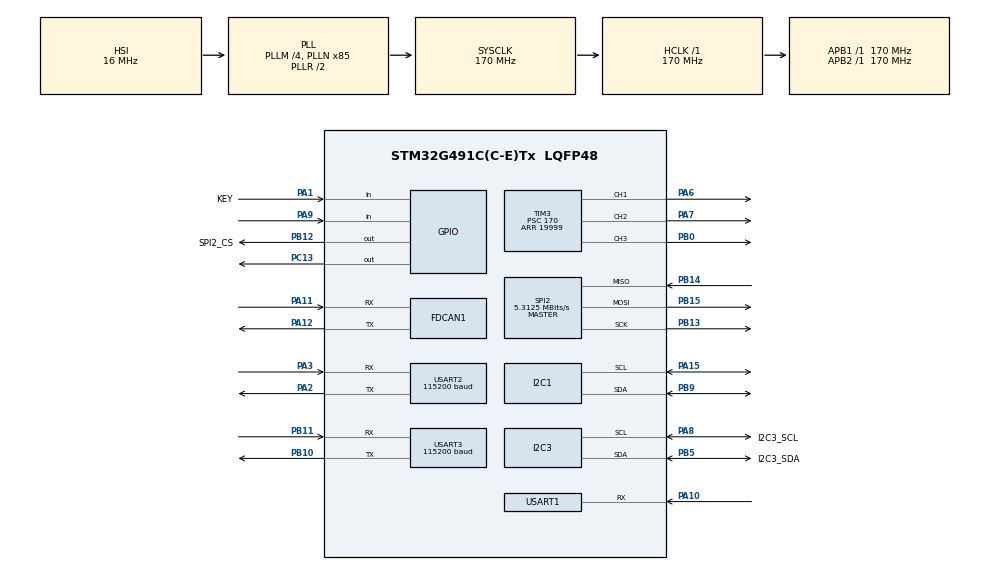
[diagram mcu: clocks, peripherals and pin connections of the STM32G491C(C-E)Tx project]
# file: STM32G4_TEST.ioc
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Dma.I2C1_RX.0.Direction=DMA_PERIPH_TO_MEMORY
Dma.I2C1_RX.0.EventEnable=DISABLE
Dma.I2C1_RX.0.Instance=DMA1_Channel1
Dma.I2C1_RX.0.MemDataAlignment=DMA_MDATAALIGN_BYTE
Dma.I2C1_RX.0.MemInc=DMA_MINC_ENABLE
Dma.I2C1_RX.0.Mode=DMA_NORMAL
Dma.I2C1_RX.0.PeriphDataAlignment=DMA_PDATAALIGN_BYTE
Dma.I2C1_RX.0.PeriphInc=DMA_PINC_DISABLE
Dma.I2C1_RX.0.Polarity=HAL_DMAMUX_REQ_GEN_RISING
Dma.I2C1_RX.0.Priority=DMA_PRIORITY_MEDIUM
Dma.I2C1_RX.0.RequestNumber=1
Dma.I2C1_RX.0.SignalID=NONE
Dma.I2C1_RX.0.SyncEnable=DISABLE
Dma.I2C1_RX.0.SyncPolarity=HAL_DMAMUX_SYNC_NO_EVENT
Dma.I2C1_RX.0.SyncRequestNumber=1
Dma.I2C1_RX.0.SyncSignalID=NONE
Dma.Request0=I2C1_RX
FDCAN1.AutoRetransmission=ENABLE
FDCAN1.CalculateBaudRateNominal=500000
FDCAN1.CalculateTimeBitNominal=2000
FDCAN1.CalculateTimeQuantumNominal=100.0
FDCAN1.FrameFormat=FDCAN_FRAME_CLASSIC
FDCAN1.NominalPrescaler=17
FDCAN1.NominalSyncJumpWidth=3
FDCAN1.NominalTimeSeg1=16
FDCAN1.NominalTimeSeg2=3
FDCAN1.TxFifoQueueMode=FDCAN_TX_FIFO_OPERATION
FREERTOS.Tasks01=defaultTask,24,128,StartDefaultTask,Default,NULL,Dynamic,NULL,NULL;NLFKION,38,512,NLF_TASK,Default,NULL,Dynamic,NULL,NULL;ColorFunion,38,256,Color_task,Default,NULL,Dynamic,NULL,NULL;BsRtFunion,38,256,BsRt_task,Default,NULL,Dynamic,NULL,NULL;OLED,40,256,OLED_TASK,Default,NULL,Dynamic,NULL,NULL;FCFUION,8,256,FC_TASK,Default,NULL,Dynamic,NULL,NULL;QRFUNION,8,256,QR_TASK,Default,NULL,Dynamic,NULL,NULL;IMU_TASK,32,128,IMU_FUCTION,Default,NULL,Dynamic,NULL,NULL
FREERTOS.configTOTAL_HEAP_SIZE=12288
I2C1.Timing=0x40B285C2
I2C3.Timing=0x40B285C2
Mcu.Family=STM32G4
Mcu.Name=STM32G491C(C-E)Tx
Mcu.Package=LQFP48
NVIC.DMA1_Channel1_IRQn=true\:5\:0\:false\:false\:true\:true\:false\:true\:true
NVIC.FDCAN1_IT0_IRQn=true\:5\:0\:false\:false\:true\:true\:true\:true\:true
NVIC.PriorityGroup=NVIC_PRIORITYGROUP_4
NVIC.TIM6_DAC_IRQn=true\:5\:0\:false\:false\:true\:false\:false\:true\:true
NVIC.TimeBase=TIM6_DAC_IRQn
NVIC.TimeBaseIP=TIM6
NVIC.USART1_IRQn=true\:5\:0\:false\:false\:true\:true\:true\:true\:true
NVIC.USART2_IRQn=true\:5\:0\:false\:false\:true\:true\:true\:true\:true
NVIC.USART3_IRQn=true\:5\:0\:false\:false\:true\:true\:true\:true\:true
PA1.GPIO_Label=KEY
PA1.Signal=GPIO_Input
PA10.GPIO_PuPd=GPIO_PULLUP
PA10.GPIO_Speed=GPIO_SPEED_FREQ_MEDIUM
PA10.Mode=Asynchronous
PA10.Signal=USART1_RX
PA11.GPIO_Speed=GPIO_SPEED_FREQ_MEDIUM
PA11.Mode=FDCAN_Activate
PA11.Signal=FDCAN1_RX
PA12.GPIO_Speed=GPIO_SPEED_FREQ_MEDIUM
PA12.Mode=FDCAN_Activate
PA12.Signal=FDCAN1_TX
PA13.Mode=Serial_Wire
PA13.Signal=SYS_JTMS-SWDIO
PA14.Mode=Serial_Wire
PA14.Signal=SYS_JTCK-SWCLK
PA15.Mode=I2C
PA15.Signal=I2C1_SCL
PA2.GPIO_Speed=GPIO_SPEED_FREQ_MEDIUM
PA2.Mode=Asynchronous
PA2.Signal=USART2_TX
PA3.GPIO_PuPd=GPIO_PULLUP
PA3.GPIO_Speed=GPIO_SPEED_FREQ_MEDIUM
PA3.Mode=Asynchronous
PA3.Signal=USART2_RX
PA6.GPIO_Speed=GPIO_SPEED_FREQ_MEDIUM
PA6.Signal=S_TIM3_CH1
PA7.GPIO_Speed=GPIO_SPEED_FREQ_MEDIUM
PA7.Signal=S_TIM3_CH2
PA8.GPIO_Label=I2C3_SCL
PA8.Mode=I2C
PA8.Signal=I2C3_SCL
PA9.Signal=GPIO_Input
PB0.GPIO_Speed=GPIO_SPEED_FREQ_MEDIUM
PB0.Signal=S_TIM3_CH3
PB10.GPIO_Speed=GPIO_SPEED_FREQ_MEDIUM
PB10.Mode=Asynchronous
PB10.Signal=USART3_TX
PB11.GPIO_PuPd=GPIO_PULLUP
PB11.GPIO_Speed=GPIO_SPEED_FREQ_MEDIUM
PB11.Mode=Asynchronous
PB11.Signal=USART3_RX
PB12.GPIO_Label=SPI2_CS
PB12.GPIO_Speed=GPIO_SPEED_FREQ_VERY_HIGH
PB12.PinState=GPIO_PIN_SET
PB12.Signal=GPIO_Output
PB13.GPIO_Speed=GPIO_SPEED_FREQ_VERY_HIGH
PB13.Mode=Full_Duplex_Master
PB13.Signal=SPI2_SCK
PB14.GPIO_Speed=GPIO_SPEED_FREQ_VERY_HIGH
PB14.Mode=Full_Duplex_Master
PB14.Signal=SPI2_MISO
PB15.GPIO_Speed=GPIO_SPEED_FREQ_VERY_HIGH
PB15.Mode=Full_Duplex_Master
PB15.Signal=SPI2_MOSI
PB5.GPIO_Label=I2C3_SDA
PB5.Mode=I2C
PB5.Signal=I2C3_SDA
PB9.Mode=I2C
PB9.Signal=I2C1_SDA
PC13.PinState=GPIO_PIN_SET
PC13.Signal=GPIO_Output
PC14-OSC32_IN.Mode=LSE-External-Oscillator
PC14-OSC32_IN.Signal=RCC_OSC32_IN
PC15-OSC32_OUT.Mode=LSE-External-Oscillator
PC15-OSC32_OUT.Signal=RCC_OSC32_OUT
PF0-OSC_IN.Mode=HSE-External-Oscillator
PF0-OSC_IN.Signal=RCC_OSC_IN
PF1-OSC_OUT.Mode=HSE-External-Oscillator
PF1-OSC_OUT.Signal=RCC_OSC_OUT
ProjectManager.HeapSize=0x200
ProjectManager.StackSize=0x400
ProjectManager.TargetToolchain=CMake
RCC.ADC12Freq_Value=170000000
RCC.ADC345Freq_Value=170000000
RCC.AHBFreq_Value=170000000
RCC.APB1Freq_Value=170000000
RCC.APB1TimFreq_Value=170000000
RCC.APB2Freq_Value=170000000
RCC.APB2TimFreq_Value=170000000
RCC.CortexFreq_Value=170000000
RCC.EXTERNAL_CLOCK_VALUE=12288000
RCC.HCLKFreq_Value=170000000
RCC.HSE_VALUE=8000000
RCC.HSI48_VALUE=48000000
RCC.HSI_VALUE=16000000
RCC.PLLM=RCC_PLLM_DIV4
RCC.PLLN=85
RCC.SYSCLKFreq_VALUE=170000000
RCC.SYSCLKSource=RCC_SYSCLKSOURCE_PLLCLK
RCC.VCOOutputFreq_Value=340000000
SH.S_TIM3_CH1.0=TIM3_CH1,PWM Generation1 CH1
SH.S_TIM3_CH2.0=TIM3_CH2,PWM Generation2 CH2
SH.S_TIM3_CH3.0=TIM3_CH3,PWM Generation3 CH3
SPI2.BaudRatePrescaler=SPI_BAUDRATEPRESCALER_32
SPI2.CalculateBaudRate=5.3125 MBits/s
SPI2.DataSize=SPI_DATASIZE_8BIT
SPI2.Direction=SPI_DIRECTION_2LINES
SPI2.Mode=SPI_MODE_MASTER
SPI2.VirtualType=VM_MASTER
STMicroelectronics.X-CUBE-ALGOBUILD.1.4.0.LibraryCcDSPOoLibraryJjDSPOoLibrary=true
TIM3.Channel-PWM\ Generation1\ CH1=TIM_CHANNEL_1
TIM3.Channel-PWM\ Generation2\ CH2=TIM_CHANNEL_2
TIM3.Channel-PWM\ Generation3\ CH3=TIM_CHANNEL_3
TIM3.PeriodNoDither=19999
TIM3.Prescaler=170
USART1.BaudRate=115200
USART1.VirtualMode-Asynchronous=VM_ASYNC
USART2.BaudRate=115200
USART2.VirtualMode-Asynchronous=VM_ASYNC
USART3.BaudRate=115200
USART3.VirtualMode-Asynchronous=VM_ASYNC
VP_FREERTOS_VS_CMSIS_V2.Mode=CMSIS_V2
VP_STMicroelectronics.X-CUBE-ALGOBUILD_VS_DSPOoLibraryJjLibrary_1.4.0_1.4.0.Mode=DSPOoLibraryJjLibrary
VP_SYS_VS_DBSignals.Mode=DisableDeadBatterySignals
VP_SYS_VS_tim6.Mode=TIM6
VP_TIM2_VS_ClockSourceINT.Mode=Internal
VP_TIM3_VS_ClockSourceINT.Mode=Internal
board=custom

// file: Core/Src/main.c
/* USER CODE BEGIN Header */
/**
  ******************************************************************************
  * @file           : main.c
  * @brief          : Main program body
  ******************************************************************************
  * @attention
  *
  * Copyright (c) 2026 STMicroelectronics.
  * All rights reserved.
  *
  * This software is licensed under terms that can be found in the LICENSE file
  * in the root directory of this software component.
  * If no LICENSE file comes with this software, it is provided AS-IS.
  *
  ******************************************************************************
  */
/* USER CODE END Header */
#include "main.h"
#include "cmsis_os.h"
#include "dma.h"
#include "fdcan.h"
#include "i2c.h"
#include "spi.h"
#include "tim.h"
#include "usart.h"
#include "gpio.h"

/* USER CODE BEGIN Includes */
#include "Common_used.h"
/* USER CODE END Includes */

/* USER CODE BEGIN PV */
void Hal_starte()
{

		FDCAN1_UserInit();

		__HAL_UART_CLEAR_FLAG(&huart1, UART_CLEAR_OREF | UART_CLEAR_FEF | UART_CLEAR_NEF);
        __HAL_UART_CLEAR_FLAG(&huart3, UART_CLEAR_OREF | UART_CLEAR_FEF | UART_CLEAR_NEF);

		QRcode_Start();
		HAL_UART_Receive_IT(&huart3, &rx3, 1);
		//HAL_UART_Receive_IT(&huart1, &rx1, 1);
		/* DMA ѭ������ + IDLE ֡ͬ�� */
		K230_Init();

    while (imu660ra_init()==0) {

       HAL_Delay(500);
        }

        siyuan_ahrs_init();    /* 内部用重力初始化 roll/pitch, yaw=0 */
        siyuan_gyro_calibrate();
		HAL_TIM_PWM_Start(&htim3, TIM_CHANNEL_1);//?????????
		HAL_TIM_PWM_Start(&htim3, TIM_CHANNEL_2);
		HAL_TIM_PWM_Start(&htim3, TIM_CHANNEL_3);

		HAL_TIM_IC_Start_IT(&htim2, TIM_CHANNEL_1);//???????

}
/* USER CODE END PV */

void SystemClock_Config(void);
void MX_FREERTOS_Init(void);
/* USER CODE BEGIN PFP */

#if defined(__ARMCC_VERSION) && (__ARMCC_VERSION >= 6000000)
__asm(".global __use_no_semihosting\n");
#elif defined(__CC_ARM)
#pragma import(__use_no_semihosting)

struct __FILE
{
    int handle;
};
#endif

FILE __stdout;
FILE __stdin;

int fputc(int ch, FILE *f)
{
    HAL_UART_Transmit(&huart1, (uint8_t *)&ch, 1, 0xFFFF);
    return ch;
}

int __io_putchar(int ch)
{
    HAL_UART_Transmit(&huart1, (uint8_t *)&ch, 1, 0xFFFF);
    return ch;
}

void _ttywrch(int ch)
{
    HAL_UART_Transmit(&huart1, (uint8_t *)&ch, 1, 0xFFFF);
}

void _sys_exit(int x)
{
    x = x;
}

/* USER CODE END PFP */

int main(void)
{

  /* USER CODE BEGIN 1 */
    uint8_t Data[15];
  /* USER CODE END 1 */

  /* MCU Configuration--------------------------------------------------------*/

  /* Reset of all peripherals, Initializes the Flash interface and the Systick. */
  HAL_Init();

  /* Configure the system clock */
  SystemClock_Config();

  /* Initialize all configured peripherals */
  MX_GPIO_Init();
  MX_DMA_Init();
  MX_FDCAN1_Init();
  MX_I2C3_Init();
  MX_SPI2_Init();
  MX_TIM2_Init();
  MX_TIM3_Init();
  MX_USART1_UART_Init();
  MX_USART2_UART_Init();
  MX_USART3_UART_Init();
  MX_I2C1_Init();
  /* USER CODE BEGIN 2 */
  UART2_StartDMAReceive();
 //    Color_Init();
//	IMU660RC_Init();
//	IMU660RC_AttitudeInit();
    HAL_Delay(100);
	  Hal_starte();

    IMU660RA_AttitudeInit();
    uint8_t len=sprintf((char *)Data,"init ok");
    HAL_UART_Transmit(&huart1, (uint8_t *)Data,len, 100);
    HAL_Delay(10);
 //  Emm_V5_Vel_Control(1,1,10,10,0);
	// Emm_V5_Vel_Control(2,1,10,10,0);
   // osDelay(10);
 //  Emm_V5_Vel_Control(3,1,10,10,0);
 //  Emm_V5_Vel_Control(4,1,10,10,0);
 // Emm_V5_Synchronous_motion(0);
	// //OLED_ShowNum(1,1,11,3,OLED_6X8);
	//OLED_Update();
  /* USER CODE END 2 */

  /* Init scheduler */
  osKernelInitialize();

  /* Call init function for freertos objects (in cmsis_os2.c) */
  MX_FREERTOS_Init();

  /* Start scheduler */
  osKernelStart();

  /* We should never get here as control is now taken by the scheduler */

  /* Infinite loop */
  while (1)
  {

  }
}

void SystemClock_Config(void)
{
  RCC_OscInitTypeDef RCC_OscInitStruct = {0};
  RCC_ClkInitTypeDef RCC_ClkInitStruct = {0};

  /** Configure the main internal regulator output voltage
  */
  HAL_PWREx_ControlVoltageScaling(PWR_REGULATOR_VOLTAGE_SCALE1_BOOST);

  /** Initializes the RCC Oscillators according to the specified parameters
  * in the RCC_OscInitTypeDef structure.
  */
  RCC_OscInitStruct.OscillatorType = RCC_OSCILLATORTYPE_HSI;
  RCC_OscInitStruct.HSIState = RCC_HSI_ON;
  RCC_OscInitStruct.HSICalibrationValue = RCC_HSICALIBRATION_DEFAULT;
  RCC_OscInitStruct.PLL.PLLState = RCC_PLL_ON;
  RCC_OscInitStruct.PLL.PLLSource = RCC_PLLSOURCE_HSI;
  RCC_OscInitStruct.PLL.PLLM = RCC_PLLM_DIV4;
  RCC_OscInitStruct.PLL.PLLN = 85;
  RCC_OscInitStruct.PLL.PLLP = RCC_PLLP_DIV2;
  RCC_OscInitStruct.PLL.PLLQ = RCC_PLLQ_DIV2;
  RCC_OscInitStruct.PLL.PLLR = RCC_PLLR_DIV2;
  if (HAL_RCC_OscConfig(&RCC_OscInitStruct) != HAL_OK)
  {
    Error_Handler();
  }

  /** Initializes the CPU, AHB and APB buses clocks
  */
  RCC_ClkInitStruct.ClockType = RCC_CLOCKTYPE_HCLK|RCC_CLOCKTYPE_SYSCLK
                              |RCC_CLOCKTYPE_PCLK1|RCC_CLOCKTYPE_PCLK2;
  RCC_ClkInitStruct.SYSCLKSource = RCC_SYSCLKSOURCE_PLLCLK;
  RCC_ClkInitStruct.AHBCLKDivider = RCC_SYSCLK_DIV1;
  RCC_ClkInitStruct.APB1CLKDivider = RCC_HCLK_DIV1;
  RCC_ClkInitStruct.APB2CLKDivider = RCC_HCLK_DIV1;

  if (HAL_RCC_ClockConfig(&RCC_ClkInitStruct, FLASH_LATENCY_4) != HAL_OK)
  {
    Error_Handler();
  }
}

void HAL_TIM_PeriodElapsedCallback(TIM_HandleTypeDef *htim)
{
  if (htim->Instance == TIM6)
  {
    HAL_IncTick();
  }
}

void Error_Handler(void)
{
  __disable_irq();
  while (1)
  {
  }
}

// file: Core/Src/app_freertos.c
/* USER CODE BEGIN Header */
/**
  ******************************************************************************
  * File Name          : app_freertos.c
  * Description        : Code for freertos applications
  ******************************************************************************
  */
/* USER CODE END Header */

#include "FreeRTOS.h"
#include "task.h"
#include "main.h"
#include "cmsis_os.h"

/* USER CODE BEGIN Includes */
#include "Common_used.h"
#include "stdlib.h"
/* USER CODE END Includes */

/* USER CODE BEGIN PD */
#ifndef LEGACY_USART1_HOST_ENABLE
#define LEGACY_USART1_HOST_ENABLE 0
#endif
/* 灰度循迹开关: 1=左循迹用灰度传感器(PA4 CLK / PA5 DAT), 0=用 K230 摄像头 */
#ifndef GRAY_TRACE_ENABLE
#define GRAY_TRACE_ENABLE 0
#endif
/* USER CODE END PD */

/* USER CODE BEGIN PM */
SemaphoreHandle_t Sem_Act_QR;
SemaphoreHandle_t Sem_Act_FINDCIRCLE;
SemaphoreHandle_t Sem_Act_Steer;
SemaphoreHandle_t Sem_Act_FollowLineL;
SemaphoreHandle_t Sem_Act_FollowLineR;
SemaphoreHandle_t Sem_Act_Navigat;

volatile TaskCommand_t   g_last_cmd;
volatile uint8_t         g_color_collect_done = 0;  /* 0=未完成, 1=5个槽已收集完 */
volatile uint8_t         g_trophy_done = 0;         /* 0=未完成, 1=3个奖杯槽已收集完 */

/* --- 颜色读取握手: BsRt_task 检测到物块到位 → 置 g_color_req 请求读色,
 *    Color_task 读到有效色写槽位 → 清 g_color_req 应答 --- */
volatile uint8_t g_color_req      = 0;   /* 1=有读色请求待处理 */
volatile uint8_t g_color_req_slot = 0;   /* 待读槽索引 (0~3), 配合 g_color_req */
static uint8_t   s_seen[COLOR_COUNT];   /* 已读颜色去重标记 (收集阶段共享) */

/* --- 角度控制任务 (FC_TASK) --- */
volatile uint8_t g_angle_ctrl_enable = 0;    /* 1=使能角度控制, 0=停止 */
volatile float
g_angle_target_yaw   = 90.0f; /* 目标角度 (deg), 固定值可改 */
/* USER CODE END PM */

/* USER CODE BEGIN Variables */
GrayTrace_t g_gray_trace;   /* 灰度循迹控制器 (PA4 CLK / PA5 DAT) */

/* USER CODE END Variables */
/* Definitions for defaultTask */
osThreadId_t defaultTaskHandle;
const osThreadAttr_t defaultTask_attributes = {
  .name = "defaultTask",
  .priority = (osPriority_t) osPriorityHigh,
  .stack_size = 256 * 4
};
/* Definitions for NLFKION */
osThreadId_t NLFKIONHandle;
const osThreadAttr_t NLFKION_attributes = {
  .name = "NLFKION",
  .priority = (osPriority_t) osPriorityAboveNormal7,
  .stack_size = 512 * 6
};
/* Definitions for ColorFunion */
osThreadId_t ColorFunionHandle;
const osThreadAttr_t ColorFunion_attributes = {
  .name = "ColorFunion",
  .priority = (osPriority_t) osPriorityAboveNormal6,
  .stack_size = 512 * 4
};
/* Definitions for BsRtFunion */
osThreadId_t BsRtFunionHandle;
const osThreadAttr_t BsRtFunion_attributes = {
  .name = "BsRtFunion",
  .priority = (osPriority_t) osPriorityAboveNormal7,
  .stack_size = 256 * 4
};
/* Definitions for OLED */
osThreadId_t OLEDHandle;
const osThreadAttr_t OLED_attributes = {
  .name = "OLED",
  .priority = (osPriority_t) osPriorityHigh,
  .stack_size = 256 * 4
};
/* Definitions for FCFUION */
osThreadId_t FCFUIONHandle;
const osThreadAttr_t FCFUION_attributes = {
  .name = "FCFUION",
  .priority = (osPriority_t) osPriorityAboveNormal6,
  .stack_size = 256 * 4
};
/* Definitions for QRFUNION */
osThreadId_t QRFUNIONHandle;
const osThreadAttr_t QRFUNION_attributes = {
  .name = "QRFUNION",
  .priority = (osPriority_t) osPriorityAboveNormal6,
  .stack_size = 256 * 4
};
/* Definitions for IMU_TASK */
osThreadId_t IMU_TASKHandle;
const osThreadAttr_t IMU_TASK_attributes = {
  .name = "IMU_TASK",
  .priority = (osPriority_t) osPriorityHigh,
  .stack_size = 256 * 4
};

void StartDefaultTask(void *argument);
void NLF_TASK(void *argument);
void Color_task(void *argument);
void BsRt_task(void *argument);
void OLED_TASK(void *argument);
void FC_TASK(void *argument);
void QR_TASK(void *argument);
void IMU_FUCTION(void *argument);

void MX_FREERTOS_Init(void); /* (MISRA C 2004 rule 8.1) */

void MX_FREERTOS_Init(void) {

  /* Create the thread(s) */
  /* creation of defaultTask */
  defaultTaskHandle = osThreadNew(StartDefaultTask, NULL, &defaultTask_attributes);

  /* creation of NLFKION */
  NLFKIONHandle = osThreadNew(NLF_TASK, NULL, &NLFKION_attributes);

  /* creation of ColorFunion */
  ColorFunionHandle = osThreadNew(Color_task, NULL, &ColorFunion_attributes);

  /* creation of BsRtFunion */
  BsRtFunionHandle = osThreadNew(BsRt_task, NULL, &BsRtFunion_attributes);

  /* creation of OLED */
  OLEDHandle = osThreadNew(OLED_TASK, NULL, &OLED_attributes);

  /* creation of FCFUION */
  FCFUIONHandle = osThreadNew(FC_TASK, NULL, &FCFUION_attributes);

  /* creation of QRFUNION */
  QRFUNIONHandle = osThreadNew(QR_TASK, NULL, &QRFUNION_attributes);

  /* creation of IMU_TASK */
  IMU_TASKHandle = osThreadNew(IMU_FUCTION, NULL, &IMU_TASK_attributes);

  Color_CalibLoad();

}

void StartDefaultTask(void *argument)
{
  /* USER CODE BEGIN StartDefaultTask */
	TaskCommand_t cmd;
	task_init();
  for(;;)
  {
   cmd= task_recive();
		g_last_cmd = cmd;
		osDelay(30);
  }
  /* USER CODE END StartDefaultTask */
}

void NLF_TASK(void *argument)
{
  /* USER CODE BEGIN NLF_TASK */
	/*
	 *导航循线任务
	 */
	SystemMode_t Navafter_mode[6]={Event_QRCode,Event_LinFolL,Event_FindCircle,Event_QRCode,Event_LinFolR,Event_PlaceDown};
	  // SystemMode_t Navafter_mode[6]={Event_QRCode,Event_LinFolR,Event_PlaceDown};
	// uint8_t NavafterNum[6]={1,1,3};
	 uint8_t NavafterNum[6]={1,1,5,1,1,3};
	//SystemMode_t Navafter_mode[4]={Event_PlaceDown,Event_LinFolL,Event_QRCode,Event_FindCircle};
	// uint8_t NavafterNum[4]={2,1,1,5};
	// SystemMode_t Navafter_mode[1]={Event_PlaceDown};
	// uint8_t NavafterNum[1]={2};
	uint8_t i=0;
	bool flag_finish=false;
	uint8_t P_Nava=0;
	uint8_t rank[3]={second_place,champion,third_place};

	K230_RequestMode(K230_MODE_LINEL);
	K230_ApplyMode();
	task_send(Event_Navigation);
	// BlockBasic_LiftTo(UP,44);
	// Nav_MoveForward(0.5);
	// osDelay(2000);
	// Nav_MoveForward(-0.5);
	BlockBasic_TurntableTo(1);
	// Emm_V5_Vel_Control(1, 0, 100, 250, 0);
	// Emm_V5_Vel_Control(2, 0, 100, 250, 0);
	// Emm_V5_Vel_Control(3, 0, 100, 250, 0);
	// Emm_V5_Vel_Control(4, 0, 100, 250, 0);
	osDelay(100);
  /* Infinite loop */
  for(;;)
  {
	  if (g_last_cmd.Mode==Event_Navigation)
	  {
	  	Nav_FeDuanPoint();
	  	printf("[TASK] Navigation done, P_Nava=%d\r\n", P_Nava);
	  	//Nav_MoveForward(0.5);
	  	//Nav_MoveLeft(-0.5);
	  	if (P_Nava<6)
	  	{
	  		task_send(Navafter_mode[P_Nava]);
	  		NavafterNum[P_Nava]--;
	  		if (NavafterNum[P_Nava]==0) {
	  			P_Nava++;
	  		}
	  	}
	  	else
	  	{
	  		task_send(Event_GoHome);
	  		Mecanum_StopAll();  /* 全部任务跑完, 停车 */
	  	}
	  }
else if (g_last_cmd.Mode==Event_LinFolL)
{
	g_angle_ctrl_enable = 0;   /* 循迹不用角度闭环, 关闭 */
#if GRAY_TRACE_ENABLE
	GrayTrace_Update(&g_gray_trace);   /* 灰度循迹 (PA4 CLK / PA5 DAT) */
	/* 串口打印 digital (每 100ms), 便于调灰度读取/极性/方向 */
	{
	// 	static uint32_t s_gray_print = 0U;
	// 	uint32_t now = HAL_GetTick();
	// 	if (now - s_gray_print >= 100U) {
	// 		uint8_t d = Grayscale_Get_Digital(&g_gray_trace.sensor);
	// 		s_gray_print = now;
	// 		printf("GRAY d=0x%02X [%c%c%c%c%c%c%c%c]\r\n",
	// 		       d,
	// 		       (d & 0x80) ? '0' : '_', (d & 0x40) ? '0' : '_',
	// 		       (d & 0x20) ? '0' : '_', (d & 0x10) ? '0' : '_',
	// 		       (d & 0x08) ? '0' : '_', (d & 0x04) ? '0' : '_',
	// 		       (d & 0x02) ? '0' : '_', (d & 0x01) ? '0' : '_');
	// 	}
	}
#else
	Trace_SetSide(0);          /* 左循迹: 角度环用 ANGLE_KP/KI/KD */
	K230_RequestMode(K230_MODE_LINEL);
	K230_ApplyMode();
  		Trace_LineFollow(Event_LinFolL);
#endif
  		if (g_color_collect_done==1)
  		{
  			task_send(Event_Navigation);
  			Mecanum_StopAll();
  			{
  			    World_Dir_t p = World_position_get();
  			    printf("[POS] LinFolL  x=%.3f y=%.3f yaw=%.2f\r\n",
  			           (double)p.x, (double)p.y, (double)(p.yaw * RAD_TO_DEG));
  			}
  			Nav_CalibrateAfterTrace(false);   /* 物料循迹 → 校准a点 */
  			K230_RequestMode(K230_MODE_CIRCLE);
  			K230_ApplyMode();
  			g_color_collect_done=0;
  		}
	osDelay(10);
  	}
  	else if (g_last_cmd.Mode==Event_LinFolR)
  	{
  		g_angle_ctrl_enable = 0;   /* 循迹不用角度闭环, 关闭 */
  		Trace_SetSide(1);          /* 右循迹: 角度环用 ANGLE_KP_R/KI_R/KD_R */
  		K230_RequestMode(K230_MODE_LINER);
  		K230_ApplyMode();
  		Trace_LineFollow(K230_MODE_LINER);
        if (g_trophy_done==1)
        {
	        task_send(Event_Navigation);
        	Mecanum_StopAll();
        	{
        	    World_Dir_t p = World_position_get();
        	    printf("[POS] LinFolR  x=%.3f y=%.3f yaw=%.2f\r\n",
        	           (double)p.x, (double)p.y, (double)(p.yaw * RAD_TO_DEG));
        	}
        	Nav_CalibrateAfterTrace(true);    /* 奖杯循迹 → 校准亚军点 */
        	K230_RequestMode(K230_MODE_CIRCLE);
        	K230_ApplyMode();
        	g_color_collect_done=0;
        }
			osDelay(10);
  	}
	else if (g_last_cmd.Mode==Event_FindCircle)
			{
		K230_RequestMode(K230_MODE_CIRCLE);
		K230_ApplyMode();
				g_circle_speed = 1.0f;  /* 左侧快 */

		if (g_circle_dir!='O')
		{
			Circle_Follow();
		}
			if (g_circle_dir=='O')
			{
				TT_RotateByQR();
				Place('O', g_circle_avg_x, g_circle_avg_y, 0);
				g_circle_dir=' ';
				printf("[TASK] FindCircle placed");
				flag_finish = false;
				if (TT_IsDone()) {
					printf("[TASK] LIFT servo");
					// Servo_SetAngle(125);
				}
				World_Reset();                    /* 放置完物块: 清零里程计, 奖杯段从0重新记 */
				task_send(Event_Navigation);
			}
			}
else if (g_last_cmd.Mode==Event_PlaceDown)
	  	{
	K230_RequestMode(K230_MODE_CIRCLE);
	K230_ApplyMode();
	g_circle_speed=1.0f;
	  		switch (rank[i])
  			{
  			case champion:
  				{
  					//加入奖杯转盘放置逻辑
  					if (flag_finish==false)
  					{
  						BlockBasic_TurntableTo(Slop_dirjang(champion));
  						// osDelay(500);
  						flag_finish=true;
  					}
  					if (g_circle_dir!='O')
  					{
  						Circle_Follow();
  					}
  					if (g_circle_dir=='O')
  					{
						Place('O', g_circle_avg_x, g_circle_avg_y, 37);
  						printf("[TASK] PlaceDown champion done\r\n");
  						i++;
  						flag_finish=false;
  						g_circle_dir=' ';
  						task_send(Event_Navigation);
  						break;
  					}
  				}
	  			break;
  			case  second_place:
  				{
  					//丝干在走进亚军时要先升起，在寻线完进行了升起
  					//加入奖杯转盘放置逻辑
  					if (flag_finish==false)
  					{
  						BlockBasic_TurntableTo(Slop_dirjang(second_place));
  						// osDelay(500);
  						flag_finish=true;
  					}
  					if (g_circle_dir!='O')
  					{
  						Circle_Follow();
  					}
  					if (g_circle_dir=='O')
  					{
						Place('O', g_circle_avg_x, g_circle_avg_y, 28);
  						printf("[TASK] PlaceDown second done\r\n");
  						i++;
  						flag_finish=false;
  						BlockBasic_LiftTo(UP,48);
  						task_send(Event_Navigation);
  						g_circle_dir=' ';
  						osDelay(800);
  						break;
  					}
  					//在走到冠军前要先升起来
  				}
	  			break;
  			case third_place:
  				{
  					if (flag_finish==false)
  					{
  						BlockBasic_LiftTo(DOWN,14);
  						BlockBasic_TurntableTo(Slop_dirjang(third_place));
  						//加入奖杯转盘放置逻辑（已加）
  						flag_finish=true;
  					}
  					if (g_circle_dir!='O')
  					{
  						Circle_Follow();
  					}
  					if (g_circle_dir=='O')
  					{
  						printf("[TASK] PlaceDown third done\r\n");
  						Place('O', g_circle_avg_x, g_circle_avg_y, 17);
  						i++;
  						flag_finish=false;
  						g_circle_dir=' ';
  						task_send(Event_Navigation);
  						break;
  					}
  				}break;
  			}

  		}
  	osDelay(10);
  		// Circle_Follow();
  		// if (g_circle_dir=='O')
  		// {
  		// 	Place('O');
  		// 	flag_finish=false;
  		// }
  		// task_send(Event_Navigation);
  	}

  	osDelay(10);
}
  /* USER CODE END NLF_TASK */

void Color_task(void *argument)
{
  /* USER CODE BEGIN Color_task */
	Color_SetLedLevel(5);
	Color_Init();

	IR_Init();

	/* 简单校准开关: 1=执行一次校准存 Flash, 0=实时打印 RGB+颜色 */
#define COLOR_SIMPLE_CALIB 0
#if COLOR_SIMPLE_CALIB
	{
		static const Color_TypeDef seq[5] = {COLOR_RED, COLOR_GREEN, COLOR_BLUE, COLOR_WHITE, COLOR_BLACK};
		static const char *name[5] = {"RED", "GREEN", "BLUE", "WHITE", "BLACK"};

		printf("[CALIB] Remove block, sample ambient in 3s\r\n");
		osDelay(1000);
		Color_CalibAmbient();
		printf("[CALIB] Ambient saved\r\n");

		for (int i = 0; i < 5; i++) {
			printf("[CALIB] >>> Put %s in front, sample in 3s\r\n", name[i]);
			osDelay(1000);
			Color_DataTypeDef d;
			if (Color_ReadData(&d) == HAL_OK) {
				Color_Calibrate(seq[i]);
				printf("[CALIB] %s: R=%3d G=%3d B=%3d saved\r\n",
				       name[i], d.red, d.green, d.blue);
			} else {
				printf("[CALIB] %s: no data!\r\n", name[i]);
			}
		}
		Color_CalibSave();
		printf("[CALIB] Saved to Flash\r\n");
		for (;;) { osDelay(1000); }
	}
#else
	{
		// uint8_t raw_dumped = 0;
		// for (;;) {
		// 	Color_DataTypeDef d;
		// 	if (Color_ReadData(&d) == HAL_OK) {
		// 		printf("R=%3d G=%3d B=%3d -> %s (cb=%lu, rxState=%d, IR=%d)\r\n",
		// 			   d.red, d.green, d.blue, Color_ToString(Color_Judge(&d)),
		// 			   (unsigned long)dbg_rx_cb, (int)huart2.RxState,
		// 			   IR_ObjectPresent());
		// 	} else {
		// 		printf("R= ? G= ? B= ? (no data, cb=%lu, rxState=%d, IR=%d)\r\n",
		// 			   (unsigned long)dbg_rx_cb, (int)huart2.RxState,
		// 			   IR_ObjectPresent());
		// 	}
		// 	if (!raw_dumped && dbg_rx_cb > 0) {
		// 		raw_dumped = 1;
		// 		printf("raw: ");
		// 		for (uint8_t i = 0; i < DMA_RX_BUF_SIZE; i++) {
		// 			printf("%02X ", dma_rx_buf[i]);
		// 		}
		// 		printf("\r\n");
		// 	}
		// 	// /* 调试: 打印5个槽的颜色, 验证槽位映射是否正确 */
		// 	printf("[COLLECT] slot1=%s slot2=%s slot3=%s slot4=%s slot5=%s\r\n",
		// 		   Color_ToString(ColorAtSlot(0)),
		// 		   Color_ToString(ColorAtSlot(1)),
		// 		   Color_ToString(ColorAtSlot(2)),
		// 		   Color_ToString(ColorAtSlot(3)),
		// 		   Color_ToString(ColorAtSlot(4)));
		// 	osDelay(1000);
		// }
		for (;;) {
			if (g_color_req) {
				uint8_t slot = g_color_req_slot;   /* 先取槽, 防握手期被改 */
				Color_TypeDef c = COLOR_UNKNOWN;

				/* 读取槽slot颜色(转盘静止): 带重试上限(约5s), 读不出不阻塞 */
				for (uint16_t tries = 0; tries < 50; tries++) {
					c = Collect_ReadColor();
					if (c != COLOR_UNKNOWN && c < COLOR_COUNT && !s_seen[c])
						break;
					osDelay(10);
				}
				if (c != COLOR_UNKNOWN && c < COLOR_COUNT && !s_seen[c]) {
					s_seen[c] = 1;
					TT_SetColor(slot, c);      /* 槽索引 0~3 直接写 */
				}
				g_color_req = 0;               /* 读色完成应答 */
			}
			osDelay(5);
		}

	}
#endif

  /* USER CODE END Color_task */
}

void BsRt_task(void *argument)
{
	/* USER CODE BEGIN BsRt_task */
	/*
	 *舵机转盘任务
	 */
	uint8_t K = 0;//0为先走物块任务，1为先走奖杯任务
	Servo_SetAngle(41);
	BlockBasic_TurntableTo(1);
	IR_Init();
	GrayTrace_Init(&g_gray_trace);   /* 灰度循迹控制器初始化 (PA4 CLK / PA5 DAT) */
	// BlockBasic_TurntableTo(1);
	// BlockBasic_LiftTo(UP,20);
	// HAL_Delay(1000);
	// BlockBasic_LiftTo(UP,40);
	for(;;)
	{
		osDelay(10);

		if (g_last_cmd.Mode==Event_LinFolL||g_last_cmd.Mode==Event_LinFolR)
		{

#if USE_OPENMV_COLOR == 0  /* ---- GY-33 ---- */
			/* 收集: 红外对射检测物体进入 → 读颜色 → 旋转转盘 */
			if (K==0) {
				g_color_collect_done = 0;
				for (uint8_t i = 0; i < COLOR_COUNT; i++) s_seen[i] = 0;   /* 清已读颜色标记 */
				Color_TypeDef c;
				uint8_t slot;

				g_color_req = 0;				/* 清残余请求 */
				Collect_WaitEnter();			/* 物块1完全进入槽1 (IR 脉冲0→1) */
				BlockBasic_TurntableTo(2);		/* 槽1 → 传感器下 (已完全进入, 无需落稳延时) */

				for (slot = 1; slot <= 4; slot++) {
					while (!IR_ObjectEntered()) osDelay(5);   /* 等物块完全进入 (IR 脉冲0→1) */
					g_color_req_slot = slot - 1;
					g_color_req = 1;
					// while (g_color_req) osDelay(3);   /* 等 Color_task 读色完成 */

					if (slot < 4) {
						BlockBasic_TurntableTo(slot + 2);	/* 槽slot+1 → 传感器下 (直接转, 无需落稳延时) */
					}
				}

				osDelay(200);
				Servo_Angle(333.0f);
				for (c = COLOR_RED; c < COLOR_COUNT; c++) {
					if (!s_seen[c]) { TT_SetColor(4, c); break; }
				}

				K=1;
				g_color_collect_done = 1;
				osDelay(200);
			}
			else {
				g_trophy_done = 0;
				BlockBasic_TurntableTo(1);
				for (uint8_t slot = 1; slot <= 3; slot++) {
					Collect_WaitEnter();
					if (slot < 3) {
						BlockBasic_TurntableTo(slot + 1);
					}
				}
				K=0;
				Servo_Angle(180.0f);
				BlockBasic_LiftTo(UP, 48);
				g_trophy_done = 1;
			}
#else  /* ---- OpenMV ---- */
				{
					#define JUMP_AB   25
					#define JUMP_LBLK 50
					#define JUMP_LMEAN 20
					static uint8_t p_lblk, p_lmean, p_a, p_b, p_init;
					if (!p_init) { Color_DataTypeDef id; if (Color_ReadData(&id) == HAL_OK) { p_lblk=id.l; p_lmean=id.red; p_a=id.a; p_b=id.b; p_init=1; } }
					if (K==0 && !g_color_collect_done&&g_last_cmd.Mode==Event_LinFolL) {
						for (uint8_t slot = 1; slot <= 5; slot++) {
							for (;;) {
								Color_DataTypeDef d;
								if (Color_ReadData(&d) != HAL_OK) { osDelay(5); continue; }
								int da = abs((int)d.a - p_a), db = abs((int)d.b - p_b);
								int dlblk = abs((int)d.l - p_lblk), dlmean = abs((int)d.red - p_lmean);
								p_lblk=d.l; p_lmean=d.red; p_a=d.a; p_b=d.b;
								int has_jump = (da+db>=JUMP_AB) || (dlblk>=JUMP_LBLK) || (dlmean>=JUMP_LMEAN);
								if (has_jump) {
									Color_TypeDef c = Color_Judge(&d);
									int only_lmean = (dlmean>=JUMP_LMEAN) && (da+db<JUMP_AB) && (dlblk<JUMP_LBLK);
									if (only_lmean ? (c==COLOR_WHITE) : (c!=COLOR_UNKNOWN))
										{ TT_SetColor(slot-1,c); break; }
								}
								osDelay(20);
							}
							if (slot < 5) {
								if (BlockBasic_TurntableTo(slot+1) != BLOCK_OK) break;
								osDelay(900);
							}
						}
						Servo_Angle(333.0f);
						K=1; g_color_collect_done=1;
					}
					else if (!g_trophy_done && g_last_cmd.Mode==Event_LinFolR) {
						for (uint8_t slot = 1; slot <=3; slot++) {
							for (;;) {
								Color_DataTypeDef d;
								if (Color_ReadData(&d) != HAL_OK) { osDelay(5); continue; }
								int dlblk = (int)p_lblk - d.l;       /* 黑占比降→白 */
								int dlmean = (int)d.red - p_lmean;  /* 亮度升→白 */
								p_lblk=d.l; p_lmean=d.red;
								int has_jump = (dlmean>=JUMP_LMEAN) || (dlblk>=JUMP_LBLK);
								if (has_jump) {
									Color_TypeDef c = Color_Judge(&d);
									if (c == COLOR_WHITE) break;
								}
								osDelay(20);
							}
							if (slot < 3) {
								if (BlockBasic_TurntableTo(slot+1) != BLOCK_OK) break;
								osDelay(200);
							}
						}
						BlockBasic_LiftTo(UP, 43);
						Servo_Angle(180.0f);
						K=0; g_trophy_done=1; p_init=0; /* p_init重置，避免白值污染物块采集baseline */
					}
				}
				#endif /* USE_OPENMV_COLOR */

			}

			osDelay(10);
			/* USER CODE END BsRt_task */
		}
	}

void OLED_TASK(void *argument)
{
	World_Dir_t position;
  /* USER CODE BEGIN OLED_TASK */

  for(;;)
  {
 //  	if (can_error_count) printf("CAN err cnt=%lu code=0x%lX\r\n",
	// (unsigned long)can_error_count, (unsigned long)can_error_code);
  	uint8_t raw_dumped = 0;
  	position=World_position_get();
  	// printf("xyyawixiy:%2f,%2f,%2f,%.2f,%.2f\r\n",position.x,position.y,position.yaw,g_ins.x,g_ins.y);
  	// printf("yaw:%.1f\n",siyuan_yaw*RAD_TO_DEG);
  		// printf("[COLLECT] slot1=%s slot2=%s slot3=%s slot4=%s slot5=%s\r\n",
  		// 	   Color_ToString(ColorAtSlot(0)),
  		// 	   Color_ToString(ColorAtSlot(1)),
  		// 	   Color_ToString(ColorAtSlot(2)),
  		// 	   Color_ToString(ColorAtSlot(3)),
  		// 	   Color_ToString(ColorAtSlot(4)));

  		// Color_DataTypeDef d;
  		// if (Color_ReadData(&d) == HAL_OK) {
  		// 	printf("R=%3d G=%3d B=%3d -> %s (cb=%lu, rxState=%d, IR=%d)\r\n",
  		// 		   d.red, d.green, d.blue, Color_ToString(Color_Judge(&d)),
  		// 		   (unsigned long)dbg_rx_cb, (int)huart2.RxState,
  		// 		   IR_ObjectPresent());
  		// } else {
  		// 	printf("R= ? G= ? B= ? (no data, cb=%lu, rxState=%d, IR=%d)\r\n",
  		// 		   (unsigned long)dbg_rx_cb, (int)huart2.RxState,
  		// 		   IR_ObjectPresent());
  		// }
  		// if (!raw_dumped && dbg_rx_cb > 0) {
  		// 	raw_dumped = 1;
  		// 	printf("raw: ");
  		// 	for (uint8_t i = 0; i < DMA_RX_BUF_SIZE; i++) {
  		// 		printf("%02X ", dma_rx_buf[i]);
  		// 	}
  		// 	printf("\r\n");
  		// }
  		// osDelay(100);
		osDelay(20);
  }

  /* USER CODE END OLED_TASK */
}

void FC_TASK(void *argument)
{
  /* USER CODE BEGIN FC_TASK */
	/*
	 *角度控制任务
	 *  g_angle_ctrl_enable = 1 时使能:
	 *    AngleCtrl 串级PID (角度环→角速度环), 持续维持 g_angle_target_yaw 角度 (deg)
	 *    用 siyuan_yaw 做角度反馈, imu660ra_gyro_x 做角速度反馈
	 *  g_angle_ctrl_enable = 0 时停止输出
	*/
	AngleCtrl ac;
	Angle_Init(&ac);
	bool running = false;

  /* Infinite loop */
  for(;;)
  {
		if (g_angle_ctrl_enable) {
			if (!running) {
				/* 首次使能: 设置目标并启动 */
				Angle_SetTarget(&ac, g_angle_target_yaw);
				running = true;
			}
			/* 持续维持: 每次刷新目标(不重置PID), 保持 MOVING 状态, 抗扰动 */
			Angle_UpdateTarget(&ac, g_angle_target_yaw);
			Angle_Update(&ac,
			             siyuan_yaw * RAD_TO_DEG,
			             siyuan_gyro_z_rate);   /* 用已 LPF + 减零偏的偏航率, 替代原始陀螺 */
			MecanumResult motor = Mecanum_Calc(0.0f, -ac.cmd_w);
			Send_commandmotor(&motor);
		} else {
			if (running) {
				Mecanum_StopAll();
				running = false;
			}
		}
		osDelay(10);   /* 与 AngleCtrl DT=0.01 匹配 */
  }
  /* USER CODE END FC_TASK */
}

void QR_TASK(void *argument)
{
  /* USER CODE BEGIN QR_TASK */
	uint8_t QR_result=0,i=0;
	uint32_t s_last_print=0;
	// SystemMode_t  QR_after[2]={Event_LinFolR,Event_Navigation};
  /* Infinite loop */
  for(;;)
  {

  	if (g_last_cmd.Mode==Event_QRCode)
  	{
  		/* 每次都 SetQR: 否则 cnt 保持 0, 找圆时 TT_RotateByQR 直接 return false */
  		QR_result=Qr_Get();
  		printf("[QR] got %d\r\n", QR_result);   /* 调试: 确认扫码是否真的收到 */
  		SetQR(QR_result-1);
  		task_send(Event_Navigation);
  	}
  		// printf("[COLLECT] slot1=%s slot2=%s slot3=%s slot4=%s slot5=%s\r\n",
  		// 	   Color_ToString(ColorAtSlot(0)),
  		// 	   Color_ToString(ColorAtSlot(1)),
  		// 	   Color_ToString(ColorAtSlot(2)),
  		// 	   Color_ToString(ColorAtSlot(3)),
  		// 	   Color_ToString(ColorAtSlot(4)));
	  // {
  	// 	uint32_t now = HAL_GetTick();
  	// 	if (now - s_last_print >= 100U) {
  	// 		//Grayscale_Update(&g_gray_trace.sensor);   /* 必须触发串行读取 */
  	// 		uint8_t d = Grayscale_Get_Digital(&g_gray_trace.sensor);
  	// 		s_last_print = now;
  	// 		printf("GRAY d=0x%02X [%c%c%c%c%c%c%c%c] \r\n",
			// 		 d,
			// 		 (d & 0x80) ? '0' : '_', (d & 0x40) ? '0' : '_',
			// 		 (d & 0x20) ? '0' : '_', (d & 0x10) ? '0' : '_',
			// 		 (d & 0x08) ? '0' : '_', (d & 0x04) ? '0' : '_',
			// 		 (d & 0x02) ? '0' : '_', (d & 0x01) ? '0' : '_');
	  // }
	  // }

    osDelay(500);
  }
  /* USER CODE END QR_TASK */
}

void IMU_FUCTION(void *argument)
{
  /* USER CODE BEGIN IMU_FUCTION */
	// EulerAngle e ;
	// calibrate_gyro();
	// Ins_Init();                    /* 惯导初始化 (清零状态, 记录起始 tick) */

  for(;;)
  {
    // if (Flag_TBOFdata) {
    //   Flag_TBOFdata = 0;
    //   printf("X=%.2f Y=%.2f Yaw=%.2f Gz=%.2f\r\n",
    //     TB_position.xdata, TB_position.ydata, imu_yaw, imu_gz);
    // }
  	// MahonyAHRS_Update(0.01f);                      // dt = 5ms
  	siyuan_imu_task();
  	// Ins_Update();
  	// e = MahonyAHRS_GetEuler_deg();
    osDelay(5);
  }
  /* USER CODE END IMU_FUCTION */
}
